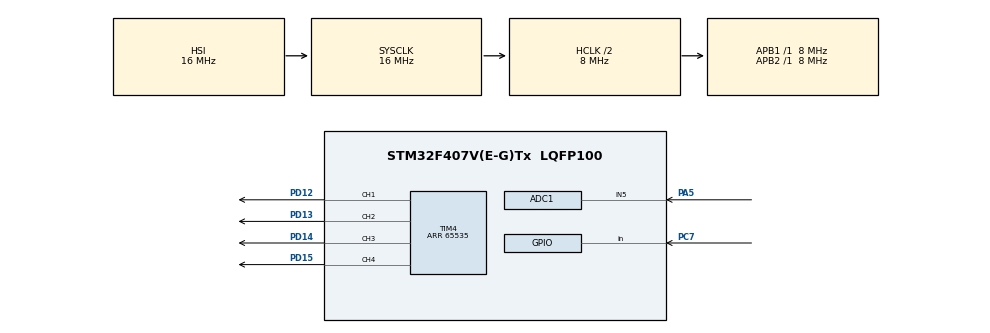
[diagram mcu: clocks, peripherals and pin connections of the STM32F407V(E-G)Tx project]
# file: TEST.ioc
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ADC1.Channel-4\#ChannelRegularConversion=ADC_CHANNEL_5
ADC1.NbrOfConversionFlag=1
ADC1.Rank-4\#ChannelRegularConversion=1
ADC1.SamplingTime-4\#ChannelRegularConversion=ADC_SAMPLETIME_3CYCLES
ADC1.master=1
Mcu.Family=STM32F4
Mcu.Name=STM32F407V(E-G)Tx
Mcu.Package=LQFP100
NVIC.PriorityGroup=NVIC_PRIORITYGROUP_4
NVIC.TIM4_IRQn=true\:0\:0\:false\:false\:true\:true
NVIC.TIM6_DAC_IRQn=true\:0\:0\:false\:false\:true\:true
PA5.Signal=ADCx_IN5
PC7.Signal=GPIO_Input
PD12.GPIO_Speed=GPIO_SPEED_FREQ_HIGH
PD12.Signal=S_TIM4_CH1
PD13.GPIO_Speed=GPIO_SPEED_FREQ_HIGH
PD13.Signal=S_TIM4_CH2
PD14.GPIO_Speed=GPIO_SPEED_FREQ_HIGH
PD14.Signal=S_TIM4_CH3
PD15.GPIO_Speed=GPIO_SPEED_FREQ_HIGH
PD15.Signal=S_TIM4_CH4
PH0-OSC_IN.Mode=HSE-External-Oscillator
PH0-OSC_IN.Signal=RCC_OSC_IN
PH1-OSC_OUT.Mode=HSE-External-Oscillator
PH1-OSC_OUT.Signal=RCC_OSC_OUT
ProjectManager.HeapSize=0x200
ProjectManager.StackSize=0x400
ProjectManager.TargetToolchain=TrueSTUDIO
RCC.48MHZClocksFreq_Value=24000000
RCC.AHBCLKDivider=RCC_SYSCLK_DIV2
RCC.AHBFreq_Value=8000000
RCC.APB1Freq_Value=8000000
RCC.APB1TimFreq_Value=8000000
RCC.APB2Freq_Value=8000000
RCC.APB2TimFreq_Value=8000000
RCC.CortexFreq_Value=8000000
RCC.HCLKFreq_Value=8000000
RCC.HSE_VALUE=8000000
RCC.HSI_VALUE=16000000
RCC.LSE_VALUE=32768
RCC.PLLSourceVirtual=RCC_PLLSOURCE_HSE
RCC.SYSCLKFreq_VALUE=16000000
RCC.VCOOutputFreq_Value=96000000
SH.ADCx_IN5.0=ADC1_IN5,IN5
SH.S_TIM4_CH1.0=TIM4_CH1,PWM Generation1 CH1
SH.S_TIM4_CH2.0=TIM4_CH2,PWM Generation2 CH2
SH.S_TIM4_CH3.0=TIM4_CH3,PWM Generation3 CH3
SH.S_TIM4_CH4.0=TIM4_CH4,PWM Generation4 CH4
TIM4.Channel-PWM\ Generation1\ CH1=TIM_CHANNEL_1
TIM4.Channel-PWM\ Generation2\ CH2=TIM_CHANNEL_2
TIM4.Channel-PWM\ Generation3\ CH3=TIM_CHANNEL_3
TIM4.Channel-PWM\ Generation4\ CH4=TIM_CHANNEL_4
TIM4.Period=65535
TIM6.Period=1
TIM6.Prescaler=8000
VP_TIM4_VS_ClockSourceINT.Mode=Internal
VP_TIM6_VS_ClockSourceINT.Mode=Enable_Timer
board=TEST

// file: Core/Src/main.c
/**
  ******************************************************************************
  * @file           : main.c
  * @brief          : Main program body
  ******************************************************************************
  ** This notice applies to any and all portions of this file
  * that are not between comment pairs USER CODE BEGIN and
  * USER CODE END. Other portions of this file, whether
  * inserted by the user or by software development tools
  * are owned by their respective copyright owners.
  *
  * COPYRIGHT(c) 2018 STMicroelectronics
  *
  * Redistribution and use in source and binary forms, with or without modification,
  * are permitted provided that the following conditions are met:
  *   1. Redistributions of source code must retain the above copyright notice,
  *      this list of conditions and the following disclaimer.
  *   2. Redistributions in binary form must reproduce the above copyright notice,
  *      this list of conditions and the following disclaimer in the documentation
  *      and/or other materials provided with the distribution.
  *   3. Neither the name of STMicroelectronics nor the names of its contributors
  *      may be used to endorse or promote products derived from this software
  *      without specific prior written permission.
  *
  * THIS SOFTWARE IS PROVIDED BY THE COPYRIGHT HOLDERS AND CONTRIBUTORS "AS IS"
  * AND ANY EXPRESS OR IMPLIED WARRANTIES, INCLUDING, BUT NOT LIMITED TO, THE
  * IMPLIED WARRANTIES OF MERCHANTABILITY AND FITNESS FOR A PARTICULAR PURPOSE ARE
  * DISCLAIMED. IN NO EVENT SHALL THE COPYRIGHT HOLDER OR CONTRIBUTORS BE LIABLE
  * FOR ANY DIRECT, INDIRECT, INCIDENTAL, SPECIAL, EXEMPLARY, OR CONSEQUENTIAL
  * DAMAGES (INCLUDING, BUT NOT LIMITED TO, PROCUREMENT OF SUBSTITUTE GOODS OR
  * SERVICES; LOSS OF USE, DATA, OR PROFITS; OR BUSINESS INTERRUPTION) HOWEVER
  * CAUSED AND ON ANY THEORY OF LIABILITY, WHETHER IN CONTRACT, STRICT LIABILITY,
  * OR TORT (INCLUDING NEGLIGENCE OR OTHERWISE) ARISING IN ANY WAY OUT OF THE USE
  * OF THIS SOFTWARE, EVEN IF ADVISED OF THE POSSIBILITY OF SUCH DAMAGE.
  *
  ******************************************************************************
  */
#include "main.h"
#include "stm32f4xx_hal.h"

ADC_HandleTypeDef hadc1;

TIM_HandleTypeDef htim4;
TIM_HandleTypeDef htim6;

/* USER CODE BEGIN PV */
/* Private variables ---------------------------------------------------------*/

/* USER CODE END PV */

void SystemClock_Config(void);
static void MX_GPIO_Init(void);
static void MX_ADC1_Init(void);
static void MX_TIM6_Init(void);
static void MX_TIM4_Init(void);

void HAL_TIM_MspPostInit(TIM_HandleTypeDef *htim);

/* USER CODE BEGIN PFP */
/* Private function prototypes -----------------------------------------------*/

/* USER CODE END PFP */

/* USER CODE BEGIN 0 */
void ADC_ValueFunc(void);
volatile uint32_t global = 0;
/* USER CODE END 0 */

int main(void)
{

  /* MCU Configuration----------------------------------------------------------*/

  /* Reset of all peripherals, Initializes the Flash interface and the Systick. */
  HAL_Init();

  /* Configure the system clock */
  SystemClock_Config();

  /* Initialize all configured peripherals */
  MX_GPIO_Init();
  MX_ADC1_Init();
  MX_TIM6_Init();
  MX_TIM4_Init();
  /* USER CODE BEGIN 2 */
  HAL_TIM_Base_Start(&htim6);
  HAL_TIM_Base_Start_IT(&htim6);
  /* USER CODE END 2 */

  /* Infinite loop */
  /* USER CODE BEGIN WHILE */
  //volatile uint32_t Monitoring = 0;
 // volatile uint32_t ADC_Value = 0;
  volatile uint32_t Monitor = 0;
  volatile uint32_t InPC7;
  while (1)
  {
	  global = global + 2;
	  HAL_Delay(1000);
	  Monitor++;
	  if(Monitor > 19)
	  {
		  Monitor = 0;
	  }
	  else
	  {

	  }
	  if(HAL_GPIO_ReadPin(GPIOC, GPIO_PIN_7) == GPIO_PIN_SET)
	  {
		  InPC7 = 1;
	  }
	  else
	  {
		  InPC7 = 0;
	  }
  /* USER CODE END WHILE */

  }

}

void SystemClock_Config(void)
{

  RCC_OscInitTypeDef RCC_OscInitStruct;
  RCC_ClkInitTypeDef RCC_ClkInitStruct;

    /**Configure the main internal regulator output voltage
    */
  __HAL_RCC_PWR_CLK_ENABLE();

  __HAL_PWR_VOLTAGESCALING_CONFIG(PWR_REGULATOR_VOLTAGE_SCALE1);

    /**Initializes the CPU, AHB and APB busses clocks
    */
  RCC_OscInitStruct.OscillatorType = RCC_OSCILLATORTYPE_HSI;
  RCC_OscInitStruct.HSIState = RCC_HSI_ON;
  RCC_OscInitStruct.HSICalibrationValue = 16;
  RCC_OscInitStruct.PLL.PLLState = RCC_PLL_NONE;
  if (HAL_RCC_OscConfig(&RCC_OscInitStruct) != HAL_OK)
  {
    _Error_Handler(__FILE__, __LINE__);
  }

    /**Initializes the CPU, AHB and APB busses clocks
    */
  RCC_ClkInitStruct.ClockType = RCC_CLOCKTYPE_HCLK|RCC_CLOCKTYPE_SYSCLK
                              |RCC_CLOCKTYPE_PCLK1|RCC_CLOCKTYPE_PCLK2;
  RCC_ClkInitStruct.SYSCLKSource = RCC_SYSCLKSOURCE_HSI;
  RCC_ClkInitStruct.AHBCLKDivider = RCC_SYSCLK_DIV2;
  RCC_ClkInitStruct.APB1CLKDivider = RCC_HCLK_DIV1;
  RCC_ClkInitStruct.APB2CLKDivider = RCC_HCLK_DIV1;

  if (HAL_RCC_ClockConfig(&RCC_ClkInitStruct, FLASH_LATENCY_0) != HAL_OK)
  {
    _Error_Handler(__FILE__, __LINE__);
  }

    /**Configure the Systick interrupt time
    */
  HAL_SYSTICK_Config(HAL_RCC_GetHCLKFreq()/1000);

    /**Configure the Systick
    */
  HAL_SYSTICK_CLKSourceConfig(SYSTICK_CLKSOURCE_HCLK);

  /* SysTick_IRQn interrupt configuration */
  HAL_NVIC_SetPriority(SysTick_IRQn, 0, 0);
}

/* ADC1 init function */
static void MX_ADC1_Init(void)
{

  ADC_ChannelConfTypeDef sConfig;

    /**Configure the global features of the ADC (Clock, Resolution, Data Alignment and number of conversion)
    */
  hadc1.Instance = ADC1;
  hadc1.Init.ClockPrescaler = ADC_CLOCK_SYNC_PCLK_DIV2;
  hadc1.Init.Resolution = ADC_RESOLUTION_12B;
  hadc1.Init.ScanConvMode = DISABLE;
  hadc1.Init.ContinuousConvMode = DISABLE;
  hadc1.Init.DiscontinuousConvMode = DISABLE;
  hadc1.Init.ExternalTrigConvEdge = ADC_EXTERNALTRIGCONVEDGE_NONE;
  hadc1.Init.ExternalTrigConv = ADC_SOFTWARE_START;
  hadc1.Init.DataAlign = ADC_DATAALIGN_RIGHT;
  hadc1.Init.NbrOfConversion = 1;
  hadc1.Init.DMAContinuousRequests = DISABLE;
  hadc1.Init.EOCSelection = ADC_EOC_SINGLE_CONV;
  if (HAL_ADC_Init(&hadc1) != HAL_OK)
  {
    _Error_Handler(__FILE__, __LINE__);
  }

    /**Configure for the selected ADC regular channel its corresponding rank in the sequencer and its sample time.
    */
  sConfig.Channel = ADC_CHANNEL_5;
  sConfig.Rank = 1;
  sConfig.SamplingTime = ADC_SAMPLETIME_3CYCLES;
  if (HAL_ADC_ConfigChannel(&hadc1, &sConfig) != HAL_OK)
  {
    _Error_Handler(__FILE__, __LINE__);
  }

}

/* TIM4 init function */
static void MX_TIM4_Init(void)
{

  TIM_ClockConfigTypeDef sClockSourceConfig;
  TIM_MasterConfigTypeDef sMasterConfig;
  TIM_OC_InitTypeDef sConfigOC;

  htim4.Instance = TIM4;
  htim4.Init.Prescaler = 0;
  htim4.Init.CounterMode = TIM_COUNTERMODE_UP;
  htim4.Init.Period = 65535;
  htim4.Init.ClockDivision = TIM_CLOCKDIVISION_DIV1;
  if (HAL_TIM_Base_Init(&htim4) != HAL_OK)
  {
    _Error_Handler(__FILE__, __LINE__);
  }

  sClockSourceConfig.ClockSource = TIM_CLOCKSOURCE_INTERNAL;
  if (HAL_TIM_ConfigClockSource(&htim4, &sClockSourceConfig) != HAL_OK)
  {
    _Error_Handler(__FILE__, __LINE__);
  }

  if (HAL_TIM_PWM_Init(&htim4) != HAL_OK)
  {
    _Error_Handler(__FILE__, __LINE__);
  }

  sMasterConfig.MasterOutputTrigger = TIM_TRGO_RESET;
  sMasterConfig.MasterSlaveMode = TIM_MASTERSLAVEMODE_DISABLE;
  if (HAL_TIMEx_MasterConfigSynchronization(&htim4, &sMasterConfig) != HAL_OK)
  {
    _Error_Handler(__FILE__, __LINE__);
  }

  sConfigOC.OCMode = TIM_OCMODE_PWM1;
  sConfigOC.Pulse = 0;
  sConfigOC.OCPolarity = TIM_OCPOLARITY_HIGH;
  sConfigOC.OCFastMode = TIM_OCFAST_DISABLE;
  if (HAL_TIM_PWM_ConfigChannel(&htim4, &sConfigOC, TIM_CHANNEL_1) != HAL_OK)
  {
    _Error_Handler(__FILE__, __LINE__);
  }

  if (HAL_TIM_PWM_ConfigChannel(&htim4, &sConfigOC, TIM_CHANNEL_2) != HAL_OK)
  {
    _Error_Handler(__FILE__, __LINE__);
  }

  if (HAL_TIM_PWM_ConfigChannel(&htim4, &sConfigOC, TIM_CHANNEL_3) != HAL_OK)
  {
    _Error_Handler(__FILE__, __LINE__);
  }

  if (HAL_TIM_PWM_ConfigChannel(&htim4, &sConfigOC, TIM_CHANNEL_4) != HAL_OK)
  {
    _Error_Handler(__FILE__, __LINE__);
  }

  HAL_TIM_MspPostInit(&htim4);

}

/* TIM6 init function */
static void MX_TIM6_Init(void)
{

  TIM_MasterConfigTypeDef sMasterConfig;

  htim6.Instance = TIM6;
  htim6.Init.Prescaler = 8000;
  htim6.Init.CounterMode = TIM_COUNTERMODE_UP;
  htim6.Init.Period = 1;
  if (HAL_TIM_Base_Init(&htim6) != HAL_OK)
  {
    _Error_Handler(__FILE__, __LINE__);
  }

  sMasterConfig.MasterOutputTrigger = TIM_TRGO_RESET;
  sMasterConfig.MasterSlaveMode = TIM_MASTERSLAVEMODE_DISABLE;
  if (HAL_TIMEx_MasterConfigSynchronization(&htim6, &sMasterConfig) != HAL_OK)
  {
    _Error_Handler(__FILE__, __LINE__);
  }

}

/** Configure pins as
        * Analog
        * Input
        * Output
        * EVENT_OUT
        * EXTI
*/
static void MX_GPIO_Init(void)
{

  GPIO_InitTypeDef GPIO_InitStruct;

  /* GPIO Ports Clock Enable */
  __HAL_RCC_GPIOH_CLK_ENABLE();
  __HAL_RCC_GPIOA_CLK_ENABLE();
  __HAL_RCC_GPIOD_CLK_ENABLE();
  __HAL_RCC_GPIOC_CLK_ENABLE();

  /*Configure GPIO pin : PC7 */
  GPIO_InitStruct.Pin = GPIO_PIN_7;
  GPIO_InitStruct.Mode = GPIO_MODE_INPUT;
  GPIO_InitStruct.Pull = GPIO_NOPULL;
  HAL_GPIO_Init(GPIOC, &GPIO_InitStruct);

}

/* USER CODE BEGIN 4 */
void ADC_ValueFunc(void)
  {

	HAL_GPIO_TogglePin(GPIOD, GPIO_PIN_15|GPIO_PIN_14|GPIO_PIN_13);

	  volatile uint32_t ADC_Value;
	  HAL_ADC_Start(&hadc1);
	  HAL_ADC_PollForConversion(&hadc1, 100);
	  ADC_Value = HAL_ADC_GetValue(&hadc1);
	  HAL_ADC_Stop(&hadc1);
  }
/* USER CODE END 4 */

void _Error_Handler(char *file, int line)
{
  while(1)
  {
  }
}

/************************ (C) COPYRIGHT STMicroelectronics *****END OF FILE****/
